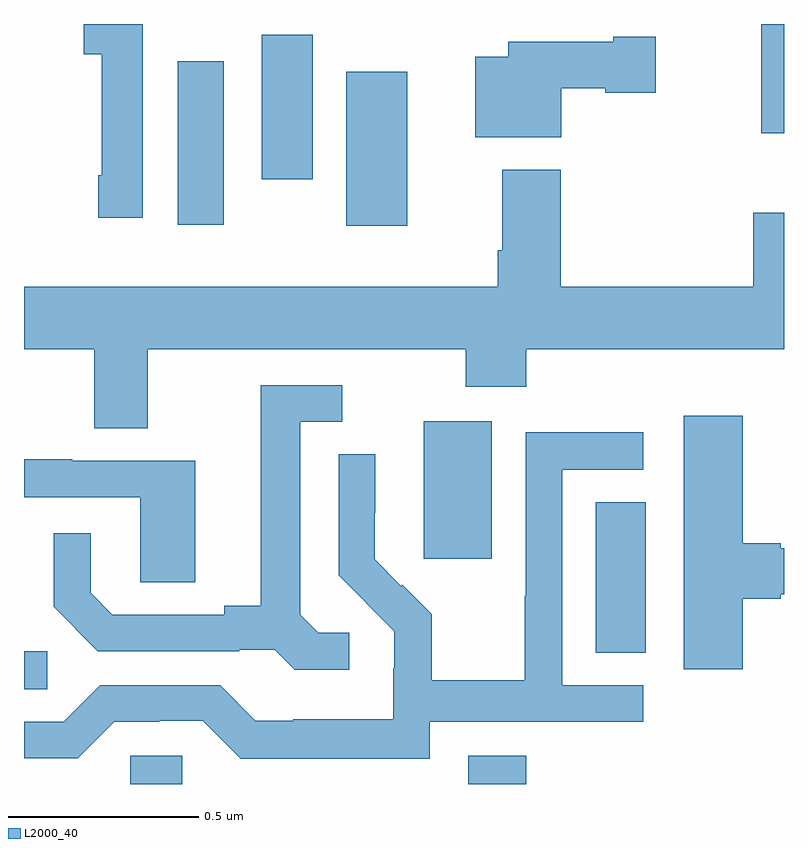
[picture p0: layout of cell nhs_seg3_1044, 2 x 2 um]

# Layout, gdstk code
import gdstk
lib = gdstk.Library(unit=1e-6, precision=1e-09)
def R(c, l, rs):  # rectangles x0, y0, x1, y1
    for r in rs: c.add(gdstk.rectangle(r[:2], r[2:], *l))
def P(c, l, *ps):  # polygons
    for p in ps: c.add(gdstk.Polygon(p, *l))
L2000_40 = (2000, 40)

nhs_seg3_1044 = lib.new_cell('nhs_seg3_1044')
R(nhs_seg3_1044, L2000_40, [(123.279,738.4,123.417,738.474), (124.169,738.4,124.322,738.475), (123,738.649,123.061,738.75), (124.505,738.745,124.636,739.142), (124.052,738.993,124.231,739.354), (123.848,739.869,124.009,740.275), (123.404,739.872,123.526,740.302), (123.626,739.992,123.76,740.372), (124.94,740.112,125,740.4)])
P(nhs_seg3_1044, L2000_40, [(123.312,740.4),(123.157,740.4),(123.157,740.321),(123.204,740.321),(123.204,740.002),(123.196,740.002),(123.196,739.89),(123.312,739.89)],
  [(124.414,740.231),(124.53,740.231),(124.53,740.219),(124.663,740.219),(124.663,740.366),(124.55,740.366),(124.55,740.353),(124.274,740.353),(124.274,740.314),(124.187,740.314),(124.187,740.102),(124.414,740.102)],
  [(123.325,739.544),(124.162,739.544),(124.162,739.445),(124.322,739.445),(124.322,739.544),(125,739.544),(125,739.903),(124.919,739.903),(124.919,739.708),(124.412,739.708),(124.412,740.017),(124.259,740.017),(124.259,739.804),(124.247,739.804),(124.247,739.708),(123,739.708),(123,739.544),(123.185,739.544),(123.185,739.336),(123.325,739.336)],
  [(123.856,738.798),(123.774,738.798),(123.727,738.845),(123.727,739.353),(123.838,739.353),(123.838,739.449),(123.623,739.449),(123.623,738.869),(123.527,738.869),(123.527,738.846),(123.232,738.846),(123.175,738.903),(123.175,739.06),(123.078,739.06),(123.078,738.866),(123.194,738.75),(123.566,738.75),(123.566,738.753),(123.66,738.753),(123.712,738.701),(123.856,738.701)],
  [(124.891,738.887),(124.991,738.887),(124.991,738.899),(125,738.899),(125,739.021),(124.991,739.021),(124.991,739.034),(124.891,739.034),(124.891,739.369),(124.736,739.369),(124.736,738.702),(124.891,738.702)],
  [(124.068,738.564),(124.63,738.564),(124.63,738.66),(124.416,738.66),(124.416,739.227),(124.63,739.227),(124.63,739.326),(124.32,739.326),(124.32,738.896),(124.318,738.896),(124.318,738.673),(124.073,738.673),(124.073,738.847),(123.996,738.924),(123.993,738.921),(123.923,738.992),(123.923,739.114),(123.924,739.114),(123.924,739.268),(123.828,739.268),(123.828,738.95),(123.901,738.877),(123.9,738.876),(123.974,738.802),(123.974,738.705),(123.972,738.705),(123.972,738.571),(123.709,738.571),(123.709,738.567),(123.609,738.567),(123.516,738.66),(123.201,738.66),(123.105,738.564),(123,738.564),(123,738.468),(123.141,738.468),(123.237,738.564),(123.356,738.564),(123.356,738.567),(123.471,738.567),(123.571,738.467),(124.068,738.467)],
  [(123.451,739.251),(123.127,739.251),(123.127,739.255),(123,739.255),(123,739.155),(123.306,739.155),(123.306,738.931),(123.451,738.931)])

lib.write_gds('nhs_seg3_1044.gds')
